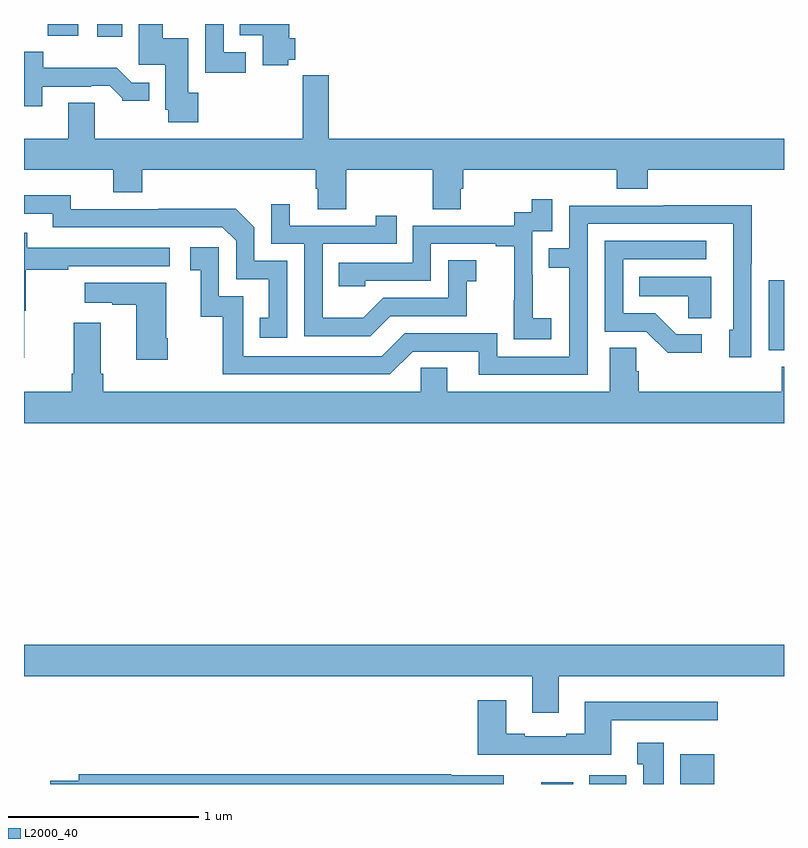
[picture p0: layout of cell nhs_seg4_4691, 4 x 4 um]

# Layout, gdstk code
import gdstk
lib = gdstk.Library(unit=1e-6, precision=1e-09)
def R(c, l, rs):  # rectangles x0, y0, x1, y1
    for r in rs: c.add(gdstk.rectangle(r[:2], r[2:], *l))
def P(c, l, *ps):  # polygons
    for p in ps: c.add(gdstk.Polygon(p, *l))
L2000_40 = (2000, 40)

nhs_seg4_4691 = lib.new_cell('nhs_seg4_4691')
R(nhs_seg4_4691, L2000_40, [(365.723,814.9,365.89,814.909), (365.975,814.9,366.171,814.945), (366.455,814.9,366.634,815.056), (366.921,817.182,367,817.552), (363.386,818.832,363.517,818.9), (363.124,818.837,363.286,818.9)])
P(nhs_seg4_4691, L2000_40, [(363.917,818.538),(363.865,818.538),(363.865,818.824),(363.73,818.824),(363.73,818.9),(363.605,818.9),(363.605,818.685),(363.743,818.685),(363.743,818.448),(363.76,818.448),(363.76,818.382),(363.917,818.382)],
  [(364.392,818.712),(364.427,818.712),(364.427,818.826),(364.396,818.826),(364.396,818.9),(364.135,818.9),(364.135,818.84),(364.256,818.84),(364.256,818.683),(364.392,818.683)],
  [(364.168,818.751),(364.05,818.751),(364.05,818.9),(363.954,818.9),(363.954,818.643),(364.168,818.643)],
  [(363.097,818.571),(363.353,818.571),(363.353,818.574),(363.452,818.574),(363.516,818.51),(363.516,818.495),(363.658,818.495),(363.658,818.592),(363.567,818.592),(363.489,818.671),(363.1,818.671),(363.1,818.755),(363,818.755),(363,818.466),(363.097,818.466)],
  [(364.695,818.132),(365.152,818.132),(365.152,817.924),(365.299,817.924),(365.299,818.034),(365.312,818.034),(365.312,818.132),(366.119,818.132),(366.119,818.033),(366.284,818.033),(366.284,818.132),(367,818.132),(367,818.296),(364.604,818.296),(364.604,818.629),(364.468,818.629),(364.468,818.296),(363.373,818.296),(363.373,818.486),(363.233,818.486),(363.233,818.296),(363,818.296),(363,818.132),(363.47,818.132),(363.47,818.015),(363.623,818.015),(363.623,818.132),(364.535,818.132),(364.535,818.034),(364.547,818.034),(364.547,817.924),(364.695,817.924)],
  [(364.386,817.653),(364.212,817.653),(364.212,817.83),(364.114,817.928),(363.706,817.928),(363.706,817.926),(363.246,817.926),(363.246,817.999),(363,817.999),(363,817.902),(363.15,817.902),(363.15,817.83),(364.044,817.83),(364.116,817.758),(364.116,817.557),(364.289,817.557),(364.289,817.353),(364.24,817.353),(364.24,817.248),(364.386,817.248)],
  [(365.776,817.351),(365.678,817.351),(365.678,817.58),(365.676,817.58),(365.676,817.809),(365.781,817.809),(365.781,817.978),(365.673,817.978),(365.673,817.908),(365.58,817.908),(365.58,817.839),(365.046,817.839),(365.046,817.644),(364.657,817.644),(364.657,817.521),(364.797,817.521),(364.797,817.548),(365.142,817.548),(365.142,817.743),(365.483,817.743),(365.483,817.731),(365.579,817.731),(365.579,817.447),(365.578,817.447),(365.578,817.241),(365.776,817.241)],
  [(364.927,817.362),(365.331,817.362),(365.331,817.547),(365.38,817.547),(365.38,817.657),(365.232,817.657),(365.232,817.458),(364.89,817.458),(364.786,817.354),(364.572,817.354),(364.572,817.743),(364.961,817.743),(364.961,817.891),(364.85,817.891),(364.85,817.839),(364.399,817.839),(364.399,817.951),(364.302,817.951),(364.302,817.743),(364.476,817.743),(364.476,817.257),(364.822,817.257)],
  [(365.967,817.848),(366.732,817.848),(366.732,817.29),(366.713,817.29),(366.713,817.146),(366.828,817.146),(366.828,817.639),(366.831,817.639),(366.831,817.946),(366.367,817.946),(366.367,817.944),(365.871,817.944),(365.871,817.719),(365.761,817.719),(365.761,817.618),(365.871,817.618),(365.871,817.149),(365.49,817.149),(365.49,817.272),(365.004,817.272),(364.884,817.152),(364.155,817.152),(364.155,817.467),(364.026,817.467),(364.026,817.726),(363.876,817.726),(363.876,817.605),(363.929,817.605),(363.929,817.359),(364.047,817.359),(364.047,817.056),(364.926,817.056),(365.046,817.176),(365.393,817.176),(365.393,817.053),(365.967,817.053)],
  [(363.002,817.392),(363.01,817.392),(363.01,817.606),(363.233,817.606),(363.233,817.626),(363.766,817.626),(363.766,817.722),(363.017,817.722),(363.017,817.801),(363,817.801),(363,817.143),(363.002,817.143)],
  [(366.568,817.266),(366.433,817.266),(366.322,817.377),(366.153,817.377),(366.153,817.662),(366.592,817.662),(366.592,817.758),(366.057,817.758),(366.057,817.281),(366.276,817.281),(366.389,817.169),(366.568,817.169)],
  [(366.616,817.57),(366.238,817.57),(366.238,817.466),(366.495,817.466),(366.495,817.351),(366.616,817.351)],
  [(363.756,817.246),(363.748,817.246),(363.748,817.537),(363.321,817.537),(363.321,817.433),(363.464,817.433),(363.464,817.423),(363.59,817.423),(363.59,817.134),(363.756,817.134)],
  [(367,817.097),(366.989,817.097),(366.989,816.964),(366.236,816.964),(366.236,817.073),(366.222,817.073),(366.222,817.196),(366.083,817.196),(366.083,816.964),(365.227,816.964),(365.227,817.091),(365.088,817.091),(365.088,816.964),(363.416,816.964),(363.416,817.06),(363.403,817.06),(363.403,817.327),(363.263,817.327),(363.263,817.06),(363.251,817.06),(363.251,816.964),(363,816.964),(363,816.8),(367,816.8)],
  [(365.815,815.468),(367,815.468),(367,815.632),(363,815.632),(363,815.468),(365.675,815.468),(365.675,815.274),(365.815,815.274)],
  [(366.091,815.235),(366.652,815.235),(366.652,815.332),(365.951,815.332),(365.951,815.164),(365.855,815.164),(365.855,815.151),(365.635,815.151),(365.635,815.164),(365.539,815.164),(365.539,815.341),(365.387,815.341),(365.387,815.054),(366.091,815.054)],
  [(366.367,815.116),(366.227,815.116),(366.227,815.003),(366.26,815.003),(366.26,814.9),(366.367,814.9)],
  [(365.524,814.945),(365.248,814.945),(365.248,814.952),(363.287,814.952),(363.287,814.916),(363.138,814.916),(363.138,814.9),(365.524,814.9)])

lib.write_gds('nhs_seg4_4691.gds')
